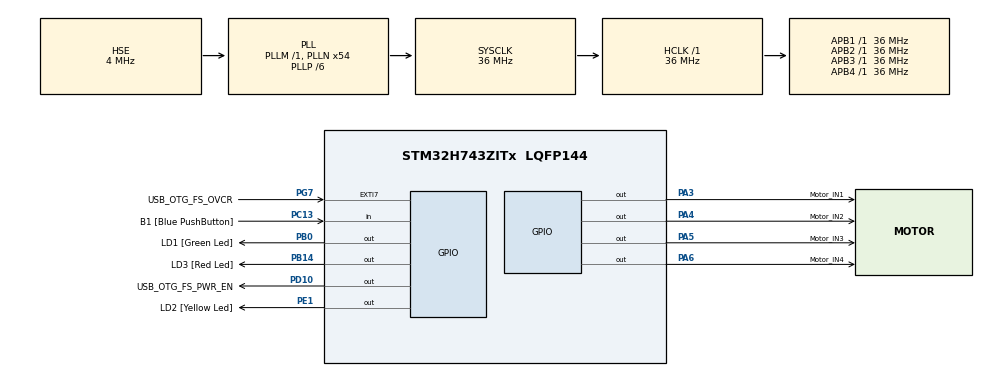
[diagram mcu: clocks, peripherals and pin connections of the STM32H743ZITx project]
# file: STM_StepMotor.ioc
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Mcu.Family=STM32H7
Mcu.Name=STM32H743ZITx
Mcu.Package=LQFP144
NVIC.PriorityGroup=NVIC_PRIORITYGROUP_4
PA1.Signal=ETH_REF_CLK
PA11.Signal=USB_OTG_FS_DM
PA12.Signal=USB_OTG_FS_DP
PA2.Signal=ETH_MDIO
PA3.GPIO_Label=Motor_IN1
PA3.Signal=GPIO_Output
PA4.GPIO_Label=Motor_IN2
PA4.Signal=GPIO_Output
PA5.GPIO_Label=Motor_IN3
PA5.Signal=GPIO_Output
PA6.GPIO_Label=Motor_IN4
PA6.Signal=GPIO_Output
PA7.Signal=ETH_CRS_DV
PA8.Signal=USB_OTG_FS_SOF
PA9.Signal=USB_OTG_FS_VBUS
PB0.GPIO_Label=LD1 [Green Led]
PB0.Signal=GPIO_Output
PB13.Signal=ETH_TXD1
PB14.GPIO_Label=LD3 [Red Led]
PB14.Signal=GPIO_Output
PC1.Signal=ETH_MDC
PC13.GPIO_Label=B1 [Blue PushButton]
PC13.Signal=GPIO_Input
PC14-OSC32_IN\ (OSC32_IN).Signal=RCC_OSC32_IN
PC15-OSC32_OUT\ (OSC32_OUT).Signal=RCC_OSC32_OUT
PC4.Signal=ETH_RXD0
PC5.Signal=ETH_RXD1
PD10.GPIO_Label=USB_OTG_FS_PWR_EN
PD10.Signal=GPIO_Output
PD8.GPIO_Label=STLINK_RX
PD8.Signal=USART3_TX
PD9.GPIO_Label=STLINK_TX
PD9.Signal=USART3_RX
PE1.GPIO_Label=LD2 [Yellow Led]
PE1.Signal=GPIO_Output
PG11.Signal=ETH_TX_EN
PG13.Signal=ETH_TXD0
PG7.GPIO_Label=USB_OTG_FS_OVCR
PG7.Signal=GPXTI7
PH0-OSC_IN\ (PH0).Mode=HSE-External-Oscillator
PH0-OSC_IN\ (PH0).Signal=RCC_OSC_IN
PH1-OSC_OUT\ (PH1).Mode=HSE-External-Oscillator
PH1-OSC_OUT\ (PH1).Signal=RCC_OSC_OUT
ProjectManager.HeapSize=0x200
ProjectManager.StackSize=0x400
ProjectManager.TargetToolchain=MDK-ARM V5.32
RCC.ADCFreq_Value=8062500
RCC.APB1Freq_Value=36000000
RCC.APB2Freq_Value=36000000
RCC.APB3Freq_Value=36000000
RCC.APB4Freq_Value=36000000
RCC.CortexFreq_Value=36000000
RCC.DIVM1=1
RCC.DIVN1=54
RCC.DIVP1=6
RCC.HCLKFreq_Value=36000000
RCC.HSE_VALUE=4000000
RCC.PLL2FRACN=0
RCC.PLL3FRACN=0
RCC.PLLFRACN=0
RCC.PLLSourceVirtual=RCC_PLLSOURCE_HSE
RCC.SYSCLKFreq_VALUE=36000000
RCC.SYSCLKSource=RCC_SYSCLKSOURCE_PLLCLK
RCC.USBFreq_Value=108000000
TIM1.Period=0xffff-1
TIM1.Prescaler=72-1
VP_TIM1_VS_ClockSourceINT.Mode=Internal
board=NUCLEO-H743ZI2

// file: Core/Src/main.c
/* USER CODE BEGIN Header */
/**
  ******************************************************************************
  * @file           : main.c
  * @brief          : Main program body
  ******************************************************************************
  * @attention
  *
  * <h2><center>&copy; Copyright (c) 2021 STMicroelectronics.
  * All rights reserved.</center></h2>
  *
  * This software component is licensed by ST under BSD 3-Clause license,
  * the "License"; You may not use this file except in compliance with the
  * License. You may obtain a copy of the License at:
  *                        opensource.org/licenses/BSD-3-Clause
  *
  ******************************************************************************
  */
/* USER CODE END Header */
#include "main.h"

TIM_HandleTypeDef htim1;

void SystemClock_Config(void);
static void MX_GPIO_Init(void);
static void MX_TIM1_Init(void);

/* USER CODE BEGIN 0 */
void delay(uint16_t us)
{
	__HAL_TIM_SET_COUNTER(&htim1, 0);
	while(__HAL_TIM_GET_COUNTER(&htim1) < us);
}

#define stepsperrev 4096

void stepper_set_rpm(int rpm) //set rpm--> max 13, min 1,,,, went to 14 rev/min
{
	delay(60000000 / stepsperrev / rpm);
}

void stepper_half_drive(int step)
{
	switch(step)
	{
		case 0:
			HAL_GPIO_WritePin(Motor_IN1_GPIO_Port, Motor_IN1_Pin, GPIO_PIN_SET);
		  HAL_GPIO_WritePin(Motor_IN2_GPIO_Port, Motor_IN2_Pin, GPIO_PIN_RESET);
	  	HAL_GPIO_WritePin(Motor_IN3_GPIO_Port, Motor_IN3_Pin, GPIO_PIN_RESET);
	  	HAL_GPIO_WritePin(Motor_IN4_GPIO_Port, Motor_IN4_Pin, GPIO_PIN_RESET);
		  break;
		case 1:
			HAL_GPIO_WritePin(Motor_IN1_GPIO_Port, Motor_IN1_Pin, GPIO_PIN_SET);
		  HAL_GPIO_WritePin(Motor_IN2_GPIO_Port, Motor_IN2_Pin, GPIO_PIN_SET);
	  	HAL_GPIO_WritePin(Motor_IN3_GPIO_Port, Motor_IN3_Pin, GPIO_PIN_RESET);
	  	HAL_GPIO_WritePin(Motor_IN4_GPIO_Port, Motor_IN4_Pin, GPIO_PIN_RESET);
		  break;
		case 2:
			HAL_GPIO_WritePin(Motor_IN1_GPIO_Port, Motor_IN1_Pin, GPIO_PIN_RESET);
		  HAL_GPIO_WritePin(Motor_IN2_GPIO_Port, Motor_IN2_Pin, GPIO_PIN_SET);
	  	HAL_GPIO_WritePin(Motor_IN3_GPIO_Port, Motor_IN3_Pin, GPIO_PIN_RESET);
	  	HAL_GPIO_WritePin(Motor_IN4_GPIO_Port, Motor_IN4_Pin, GPIO_PIN_RESET);
		  break;
		case 3:
			HAL_GPIO_WritePin(Motor_IN1_GPIO_Port, Motor_IN1_Pin, GPIO_PIN_RESET);
		  HAL_GPIO_WritePin(Motor_IN2_GPIO_Port, Motor_IN2_Pin, GPIO_PIN_SET);
	  	HAL_GPIO_WritePin(Motor_IN3_GPIO_Port, Motor_IN3_Pin, GPIO_PIN_SET);
	  	HAL_GPIO_WritePin(Motor_IN4_GPIO_Port, Motor_IN4_Pin, GPIO_PIN_RESET);
		  break;
		case 4:
			HAL_GPIO_WritePin(Motor_IN1_GPIO_Port, Motor_IN1_Pin, GPIO_PIN_RESET);
		  HAL_GPIO_WritePin(Motor_IN2_GPIO_Port, Motor_IN2_Pin, GPIO_PIN_RESET);
	  	HAL_GPIO_WritePin(Motor_IN3_GPIO_Port, Motor_IN3_Pin, GPIO_PIN_SET);
	  	HAL_GPIO_WritePin(Motor_IN4_GPIO_Port, Motor_IN4_Pin, GPIO_PIN_RESET);
		  break;
		case 5:
			HAL_GPIO_WritePin(Motor_IN1_GPIO_Port, Motor_IN1_Pin, GPIO_PIN_RESET);
		  HAL_GPIO_WritePin(Motor_IN2_GPIO_Port, Motor_IN2_Pin, GPIO_PIN_RESET);
	  	HAL_GPIO_WritePin(Motor_IN3_GPIO_Port, Motor_IN3_Pin, GPIO_PIN_SET);
	  	HAL_GPIO_WritePin(Motor_IN4_GPIO_Port, Motor_IN4_Pin, GPIO_PIN_SET);
		  break;
		case 6:
			HAL_GPIO_WritePin(Motor_IN1_GPIO_Port, Motor_IN1_Pin, GPIO_PIN_RESET);
		  HAL_GPIO_WritePin(Motor_IN2_GPIO_Port, Motor_IN2_Pin, GPIO_PIN_RESET);
	  	HAL_GPIO_WritePin(Motor_IN3_GPIO_Port, Motor_IN3_Pin, GPIO_PIN_RESET);
	  	HAL_GPIO_WritePin(Motor_IN4_GPIO_Port, Motor_IN4_Pin, GPIO_PIN_SET);
		  break;
		case 7:
			HAL_GPIO_WritePin(Motor_IN1_GPIO_Port, Motor_IN1_Pin, GPIO_PIN_SET);
		  HAL_GPIO_WritePin(Motor_IN2_GPIO_Port, Motor_IN2_Pin, GPIO_PIN_RESET);
	  	HAL_GPIO_WritePin(Motor_IN3_GPIO_Port, Motor_IN3_Pin, GPIO_PIN_RESET);
	  	HAL_GPIO_WritePin(Motor_IN4_GPIO_Port, Motor_IN4_Pin, GPIO_PIN_SET);
		  break;
	}
}

void stepper_step_angle(float angle, int direction, int rpm)
{
	float anglepersequence = 0.703125;  // 360 = 512 sequences
	int numberofsequences = (int)(angle / anglepersequence);

	for (int seq=0; seq < numberofsequences; seq++)
	{
		if (direction == 0)  // for clockwise
		{
			for (int step = 7; step >= 0; step--)
			{
				stepper_half_drive(step);
				stepper_set_rpm(rpm);
			}

		}

		else if (direction == 1)  // for anti-clockwise
		{
			for (int step = 0; step < 8; step++)
			{
				stepper_half_drive(step);
				stepper_set_rpm(rpm);
			}
		}
	}
}
/* USER CODE END 0 */

int main(void)
{

  /* MCU Configuration--------------------------------------------------------*/

  /* Reset of all peripherals, Initializes the Flash interface and the Systick. */
  HAL_Init();

  /* Configure the system clock */
  SystemClock_Config();

  /* Initialize all configured peripherals */
  MX_GPIO_Init();
  MX_TIM1_Init();
  /* USER CODE BEGIN 2 */
	HAL_TIM_Base_Start(&htim1);
  /* USER CODE END 2 */

  /* Infinite loop */
  while (1)
  {

    /* USER CODE BEGIN 3 */
		for(int i = 0; i < 512; i++)
		{
			for(int i = 0; i < 8; i++)
			{
				stepper_half_drive(i);
				stepper_set_rpm(5);
			}
		}

		//stepper_step_angle(45, 1, 5);
		//HAL_Delay(1000);
  }
  /* USER CODE END 3 */
}

void SystemClock_Config(void)
{
  RCC_OscInitTypeDef RCC_OscInitStruct = {0};
  RCC_ClkInitTypeDef RCC_ClkInitStruct = {0};

  /** Supply configuration update enable
  */
  HAL_PWREx_ConfigSupply(PWR_LDO_SUPPLY);
  /** Configure the main internal regulator output voltage
  */
  __HAL_PWR_VOLTAGESCALING_CONFIG(PWR_REGULATOR_VOLTAGE_SCALE3);

  while(!__HAL_PWR_GET_FLAG(PWR_FLAG_VOSRDY)) {}
  /** Initializes the RCC Oscillators according to the specified parameters
  * in the RCC_OscInitTypeDef structure.
  */
  RCC_OscInitStruct.OscillatorType = RCC_OSCILLATORTYPE_HSE;
  RCC_OscInitStruct.HSEState = RCC_HSE_ON;
  RCC_OscInitStruct.PLL.PLLState = RCC_PLL_ON;
  RCC_OscInitStruct.PLL.PLLSource = RCC_PLLSOURCE_HSE;
  RCC_OscInitStruct.PLL.PLLM = 1;
  RCC_OscInitStruct.PLL.PLLN = 54;
  RCC_OscInitStruct.PLL.PLLP = 6;
  RCC_OscInitStruct.PLL.PLLQ = 2;
  RCC_OscInitStruct.PLL.PLLR = 2;
  RCC_OscInitStruct.PLL.PLLRGE = RCC_PLL1VCIRANGE_2;
  RCC_OscInitStruct.PLL.PLLVCOSEL = RCC_PLL1VCOWIDE;
  RCC_OscInitStruct.PLL.PLLFRACN = 0;
  if (HAL_RCC_OscConfig(&RCC_OscInitStruct) != HAL_OK)
  {
    Error_Handler();
  }
  /** Initializes the CPU, AHB and APB buses clocks
  */
  RCC_ClkInitStruct.ClockType = RCC_CLOCKTYPE_HCLK|RCC_CLOCKTYPE_SYSCLK
                              |RCC_CLOCKTYPE_PCLK1|RCC_CLOCKTYPE_PCLK2
                              |RCC_CLOCKTYPE_D3PCLK1|RCC_CLOCKTYPE_D1PCLK1;
  RCC_ClkInitStruct.SYSCLKSource = RCC_SYSCLKSOURCE_PLLCLK;
  RCC_ClkInitStruct.SYSCLKDivider = RCC_SYSCLK_DIV1;
  RCC_ClkInitStruct.AHBCLKDivider = RCC_HCLK_DIV1;
  RCC_ClkInitStruct.APB3CLKDivider = RCC_APB3_DIV1;
  RCC_ClkInitStruct.APB1CLKDivider = RCC_APB1_DIV1;
  RCC_ClkInitStruct.APB2CLKDivider = RCC_APB2_DIV1;
  RCC_ClkInitStruct.APB4CLKDivider = RCC_APB4_DIV1;

  if (HAL_RCC_ClockConfig(&RCC_ClkInitStruct, FLASH_LATENCY_0) != HAL_OK)
  {
    Error_Handler();
  }
}

static void MX_TIM1_Init(void)
{

  TIM_ClockConfigTypeDef sClockSourceConfig = {0};
  TIM_MasterConfigTypeDef sMasterConfig = {0};

  htim1.Instance = TIM1;
  htim1.Init.Prescaler = 72-1;
  htim1.Init.CounterMode = TIM_COUNTERMODE_UP;
  htim1.Init.Period = 0xffff-1;
  htim1.Init.ClockDivision = TIM_CLOCKDIVISION_DIV1;
  htim1.Init.RepetitionCounter = 0;
  htim1.Init.AutoReloadPreload = TIM_AUTORELOAD_PRELOAD_DISABLE;
  if (HAL_TIM_Base_Init(&htim1) != HAL_OK)
  {
    Error_Handler();
  }
  sClockSourceConfig.ClockSource = TIM_CLOCKSOURCE_INTERNAL;
  if (HAL_TIM_ConfigClockSource(&htim1, &sClockSourceConfig) != HAL_OK)
  {
    Error_Handler();
  }
  sMasterConfig.MasterOutputTrigger = TIM_TRGO_RESET;
  sMasterConfig.MasterOutputTrigger2 = TIM_TRGO2_RESET;
  sMasterConfig.MasterSlaveMode = TIM_MASTERSLAVEMODE_DISABLE;
  if (HAL_TIMEx_MasterConfigSynchronization(&htim1, &sMasterConfig) != HAL_OK)
  {
    Error_Handler();
  }

}

static void MX_GPIO_Init(void)
{
  GPIO_InitTypeDef GPIO_InitStruct = {0};

  /* GPIO Ports Clock Enable */
  __HAL_RCC_GPIOE_CLK_ENABLE();
  __HAL_RCC_GPIOC_CLK_ENABLE();
  __HAL_RCC_GPIOF_CLK_ENABLE();
  __HAL_RCC_GPIOH_CLK_ENABLE();
  __HAL_RCC_GPIOA_CLK_ENABLE();
  __HAL_RCC_GPIOB_CLK_ENABLE();
  __HAL_RCC_GPIOG_CLK_ENABLE();
  __HAL_RCC_GPIOD_CLK_ENABLE();

  /*Configure GPIO pin Output Level */
  HAL_GPIO_WritePin(GPIOA, Motor_IN1_Pin|Motor_IN2_Pin|Motor_IN3_Pin|Motor_IN4_Pin, GPIO_PIN_RESET);

  /*Configure GPIO pin Output Level */
  HAL_GPIO_WritePin(GPIOB, LD1_Pin|LD3_Pin, GPIO_PIN_RESET);

  /*Configure GPIO pin Output Level */
  HAL_GPIO_WritePin(USB_OTG_FS_PWR_EN_GPIO_Port, USB_OTG_FS_PWR_EN_Pin, GPIO_PIN_RESET);

  /*Configure GPIO pin Output Level */
  HAL_GPIO_WritePin(LD2_GPIO_Port, LD2_Pin, GPIO_PIN_RESET);

  /*Configure GPIO pins : PE2 PE3 PE4 PE5
                           PE6 PE7 PE8 PE9
                           PE10 PE11 PE12 PE13
                           PE14 PE15 PE0 */
  GPIO_InitStruct.Pin = GPIO_PIN_2|GPIO_PIN_3|GPIO_PIN_4|GPIO_PIN_5
                          |GPIO_PIN_6|GPIO_PIN_7|GPIO_PIN_8|GPIO_PIN_9
                          |GPIO_PIN_10|GPIO_PIN_11|GPIO_PIN_12|GPIO_PIN_13
                          |GPIO_PIN_14|GPIO_PIN_15|GPIO_PIN_0;
  GPIO_InitStruct.Mode = GPIO_MODE_ANALOG;
  GPIO_InitStruct.Pull = GPIO_NOPULL;
  HAL_GPIO_Init(GPIOE, &GPIO_InitStruct);

  /*Configure GPIO pin : B1_Pin */
  GPIO_InitStruct.Pin = B1_Pin;
  GPIO_InitStruct.Mode = GPIO_MODE_INPUT;
  GPIO_InitStruct.Pull = GPIO_NOPULL;
  HAL_GPIO_Init(B1_GPIO_Port, &GPIO_InitStruct);

  /*Configure GPIO pins : PF0 PF1 PF2 PF3
                           PF4 PF5 PF6 PF7
                           PF8 PF9 PF10 PF11
                           PF12 PF13 PF14 PF15 */
  GPIO_InitStruct.Pin = GPIO_PIN_0|GPIO_PIN_1|GPIO_PIN_2|GPIO_PIN_3
                          |GPIO_PIN_4|GPIO_PIN_5|GPIO_PIN_6|GPIO_PIN_7
                          |GPIO_PIN_8|GPIO_PIN_9|GPIO_PIN_10|GPIO_PIN_11
                          |GPIO_PIN_12|GPIO_PIN_13|GPIO_PIN_14|GPIO_PIN_15;
  GPIO_InitStruct.Mode = GPIO_MODE_ANALOG;
  GPIO_InitStruct.Pull = GPIO_NOPULL;
  HAL_GPIO_Init(GPIOF, &GPIO_InitStruct);

  /*Configure GPIO pins : PC0 PC2 PC3 PC6
                           PC7 PC8 PC9 PC10
                           PC11 PC12 */
  GPIO_InitStruct.Pin = GPIO_PIN_0|GPIO_PIN_2|GPIO_PIN_3|GPIO_PIN_6
                          |GPIO_PIN_7|GPIO_PIN_8|GPIO_PIN_9|GPIO_PIN_10
                          |GPIO_PIN_11|GPIO_PIN_12;
  GPIO_InitStruct.Mode = GPIO_MODE_ANALOG;
  GPIO_InitStruct.Pull = GPIO_NOPULL;
  HAL_GPIO_Init(GPIOC, &GPIO_InitStruct);

  /*Configure GPIO pins : PC1 PC4 PC5 */
  GPIO_InitStruct.Pin = GPIO_PIN_1|GPIO_PIN_4|GPIO_PIN_5;
  GPIO_InitStruct.Mode = GPIO_MODE_AF_PP;
  GPIO_InitStruct.Pull = GPIO_NOPULL;
  GPIO_InitStruct.Speed = GPIO_SPEED_FREQ_LOW;
  GPIO_InitStruct.Alternate = GPIO_AF11_ETH;
  HAL_GPIO_Init(GPIOC, &GPIO_InitStruct);

  /*Configure GPIO pins : PA0 PA10 PA15 */
  GPIO_InitStruct.Pin = GPIO_PIN_0|GPIO_PIN_10|GPIO_PIN_15;
  GPIO_InitStruct.Mode = GPIO_MODE_ANALOG;
  GPIO_InitStruct.Pull = GPIO_NOPULL;
  HAL_GPIO_Init(GPIOA, &GPIO_InitStruct);

  /*Configure GPIO pins : PA1 PA2 PA7 */
  GPIO_InitStruct.Pin = GPIO_PIN_1|GPIO_PIN_2|GPIO_PIN_7;
  GPIO_InitStruct.Mode = GPIO_MODE_AF_PP;
  GPIO_InitStruct.Pull = GPIO_NOPULL;
  GPIO_InitStruct.Speed = GPIO_SPEED_FREQ_LOW;
  GPIO_InitStruct.Alternate = GPIO_AF11_ETH;
  HAL_GPIO_Init(GPIOA, &GPIO_InitStruct);

  /*Configure GPIO pins : Motor_IN1_Pin Motor_IN2_Pin Motor_IN3_Pin Motor_IN4_Pin */
  GPIO_InitStruct.Pin = Motor_IN1_Pin|Motor_IN2_Pin|Motor_IN3_Pin|Motor_IN4_Pin;
  GPIO_InitStruct.Mode = GPIO_MODE_OUTPUT_PP;
  GPIO_InitStruct.Pull = GPIO_NOPULL;
  GPIO_InitStruct.Speed = GPIO_SPEED_FREQ_LOW;
  HAL_GPIO_Init(GPIOA, &GPIO_InitStruct);

  /*Configure GPIO pins : LD1_Pin LD3_Pin */
  GPIO_InitStruct.Pin = LD1_Pin|LD3_Pin;
  GPIO_InitStruct.Mode = GPIO_MODE_OUTPUT_PP;
  GPIO_InitStruct.Pull = GPIO_NOPULL;
  GPIO_InitStruct.Speed = GPIO_SPEED_FREQ_LOW;
  HAL_GPIO_Init(GPIOB, &GPIO_InitStruct);

  /*Configure GPIO pins : PB1 PB2 PB10 PB11
                           PB12 PB15 PB3 PB4
                           PB5 PB6 PB7 PB8
                           PB9 */
  GPIO_InitStruct.Pin = GPIO_PIN_1|GPIO_PIN_2|GPIO_PIN_10|GPIO_PIN_11
                          |GPIO_PIN_12|GPIO_PIN_15|GPIO_PIN_3|GPIO_PIN_4
                          |GPIO_PIN_5|GPIO_PIN_6|GPIO_PIN_7|GPIO_PIN_8
                          |GPIO_PIN_9;
  GPIO_InitStruct.Mode = GPIO_MODE_ANALOG;
  GPIO_InitStruct.Pull = GPIO_NOPULL;
  HAL_GPIO_Init(GPIOB, &GPIO_InitStruct);

  /*Configure GPIO pins : PG0 PG1 PG2 PG3
                           PG4 PG5 PG6 PG8
                           PG9 PG10 PG12 PG14
                           PG15 */
  GPIO_InitStruct.Pin = GPIO_PIN_0|GPIO_PIN_1|GPIO_PIN_2|GPIO_PIN_3
                          |GPIO_PIN_4|GPIO_PIN_5|GPIO_PIN_6|GPIO_PIN_8
                          |GPIO_PIN_9|GPIO_PIN_10|GPIO_PIN_12|GPIO_PIN_14
                          |GPIO_PIN_15;
  GPIO_InitStruct.Mode = GPIO_MODE_ANALOG;
  GPIO_InitStruct.Pull = GPIO_NOPULL;
  HAL_GPIO_Init(GPIOG, &GPIO_InitStruct);

  /*Configure GPIO pin : PB13 */
  GPIO_InitStruct.Pin = GPIO_PIN_13;
  GPIO_InitStruct.Mode = GPIO_MODE_AF_PP;
  GPIO_InitStruct.Pull = GPIO_NOPULL;
  GPIO_InitStruct.Speed = GPIO_SPEED_FREQ_LOW;
  GPIO_InitStruct.Alternate = GPIO_AF11_ETH;
  HAL_GPIO_Init(GPIOB, &GPIO_InitStruct);

  /*Configure GPIO pins : STLINK_RX_Pin STLINK_TX_Pin */
  GPIO_InitStruct.Pin = STLINK_RX_Pin|STLINK_TX_Pin;
  GPIO_InitStruct.Mode = GPIO_MODE_AF_PP;
  GPIO_InitStruct.Pull = GPIO_NOPULL;
  GPIO_InitStruct.Speed = GPIO_SPEED_FREQ_LOW;
  GPIO_InitStruct.Alternate = GPIO_AF7_USART3;
  HAL_GPIO_Init(GPIOD, &GPIO_InitStruct);

  /*Configure GPIO pin : USB_OTG_FS_PWR_EN_Pin */
  GPIO_InitStruct.Pin = USB_OTG_FS_PWR_EN_Pin;
  GPIO_InitStruct.Mode = GPIO_MODE_OUTPUT_PP;
  GPIO_InitStruct.Pull = GPIO_NOPULL;
  GPIO_InitStruct.Speed = GPIO_SPEED_FREQ_LOW;
  HAL_GPIO_Init(USB_OTG_FS_PWR_EN_GPIO_Port, &GPIO_InitStruct);

  /*Configure GPIO pins : PD11 PD12 PD13 PD14
                           PD15 PD0 PD1 PD2
                           PD3 PD4 PD5 PD6
                           PD7 */
  GPIO_InitStruct.Pin = GPIO_PIN_11|GPIO_PIN_12|GPIO_PIN_13|GPIO_PIN_14
                          |GPIO_PIN_15|GPIO_PIN_0|GPIO_PIN_1|GPIO_PIN_2
                          |GPIO_PIN_3|GPIO_PIN_4|GPIO_PIN_5|GPIO_PIN_6
                          |GPIO_PIN_7;
  GPIO_InitStruct.Mode = GPIO_MODE_ANALOG;
  GPIO_InitStruct.Pull = GPIO_NOPULL;
  HAL_GPIO_Init(GPIOD, &GPIO_InitStruct);

  /*Configure GPIO pin : USB_OTG_FS_OVCR_Pin */
  GPIO_InitStruct.Pin = USB_OTG_FS_OVCR_Pin;
  GPIO_InitStruct.Mode = GPIO_MODE_IT_RISING;
  GPIO_InitStruct.Pull = GPIO_NOPULL;
  HAL_GPIO_Init(USB_OTG_FS_OVCR_GPIO_Port, &GPIO_InitStruct);

  /*Configure GPIO pins : PA8 PA11 PA12 */
  GPIO_InitStruct.Pin = GPIO_PIN_8|GPIO_PIN_11|GPIO_PIN_12;
  GPIO_InitStruct.Mode = GPIO_MODE_AF_PP;
  GPIO_InitStruct.Pull = GPIO_NOPULL;
  GPIO_InitStruct.Speed = GPIO_SPEED_FREQ_LOW;
  GPIO_InitStruct.Alternate = GPIO_AF10_OTG1_FS;
  HAL_GPIO_Init(GPIOA, &GPIO_InitStruct);

  /*Configure GPIO pins : PG11 PG13 */
  GPIO_InitStruct.Pin = GPIO_PIN_11|GPIO_PIN_13;
  GPIO_InitStruct.Mode = GPIO_MODE_AF_PP;
  GPIO_InitStruct.Pull = GPIO_NOPULL;
  GPIO_InitStruct.Speed = GPIO_SPEED_FREQ_LOW;
  GPIO_InitStruct.Alternate = GPIO_AF11_ETH;
  HAL_GPIO_Init(GPIOG, &GPIO_InitStruct);

  /*Configure GPIO pin : LD2_Pin */
  GPIO_InitStruct.Pin = LD2_Pin;
  GPIO_InitStruct.Mode = GPIO_MODE_OUTPUT_PP;
  GPIO_InitStruct.Pull = GPIO_NOPULL;
  GPIO_InitStruct.Speed = GPIO_SPEED_FREQ_LOW;
  HAL_GPIO_Init(LD2_GPIO_Port, &GPIO_InitStruct);

}

void Error_Handler(void)
{
  __disable_irq();
  while (1)
  {
  }
}

/************************ (C) COPYRIGHT STMicroelectronics *****END OF FILE****/
